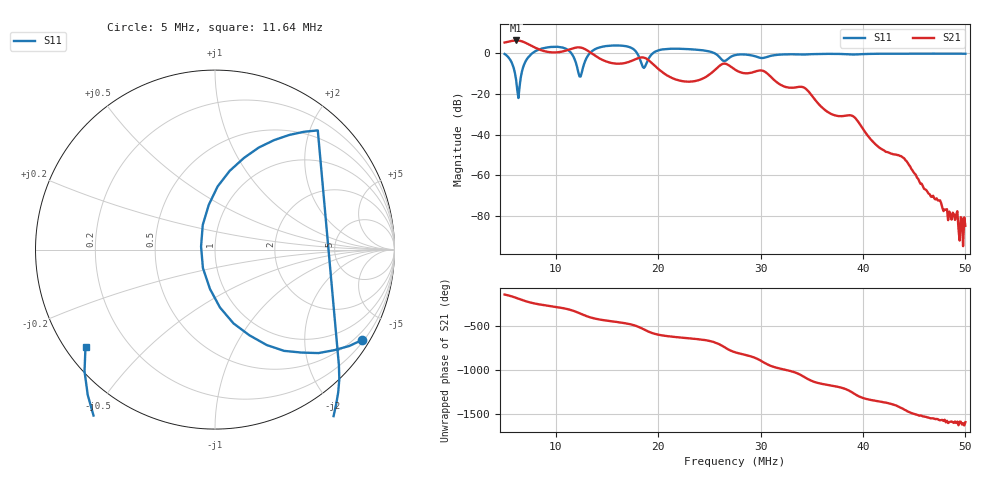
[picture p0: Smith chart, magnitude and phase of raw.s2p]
! S11/S21 only; reverse parameters are placeholders. Device calibration unverified.
! NanoVNA F V2 profile | COM3 | 2026-09-08T11:55:15.0259813-04:00 | device calibration unverified
# HZ S RI R 50
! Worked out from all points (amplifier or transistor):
!   401 points, 5 MHz to 50 MHz, reference 50 ohm
!   highest |S21| = 6.3 dB at 6.125 MHz (marker M1)
!   |S21| within 3 dB of that: start of sweep to 7.765 MHz
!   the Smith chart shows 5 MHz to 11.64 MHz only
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5000000  0.8211 -0.5026  -1.421 -1.162  0 0  0 0
6125000  -0.0279 -0.2195  -2.065 -0.0627  0 0  0 0
7250000  0.4141 0.6388  -1.24 1.176  0 0  0 0
7812500  0.6864 -0.7957  -0.7185 1.251  0 0  0 0
1.0175e7  -0.1015 -1.44  0.2745 1.022  0 0  0 0
1.16375e7  -0.7215 -0.54  1.058 0.7795  0 0  0 0
1.25375e7  0.1663 0.2921  1.357 -0.1297  0 0  0 0
1.32125e7  0.9309 -0.00536  0.9033 -0.6516  0 0  0 0
1.4e7  1.195 -0.5614  0.4117 -0.708  0 0  0 0
1.68125e7  0.477 -1.423  -0.1925 -0.5486  0 0  0 0
1.76e7  -0.1918 -1.239  -0.4405 -0.5218  0 0  0 0
1.8275e7  -0.6029 -0.2448  -0.7393 -0.2678  0 0  0 0
1.895e7  0.2924 0.5758  -0.6707 0.2333  0 0  0 0
2.0075e7  1.188 0.072  -0.1934 0.3488  0 0  0 0
2.4575e7  0.9297 -0.6951  0.1321 0.2176  0 0  0 0
2.62625e7  0.5062 -0.449  0.5396 -0.0668  0 0  0 0
2.75e7  0.8371 -0.331  0.0705 -0.3907  0 0  0 0
3.0875e7  0.7612 -0.377  -0.1821 0.2171  0 0  0 0
3.50375e7  0.6995 -0.6462  0.0585 -0.0674  0 0  0 0
4.2575e7  0.4405 -0.8692  0.00206 0.00293  0 0  0 0
4.80875e7  0.2327 -0.9489  -0.000135 -4.9e-05  0 0  0 0
5e7  0.1597 -0.961  -5.4e-05 -2.1e-05  0 0  0 0
